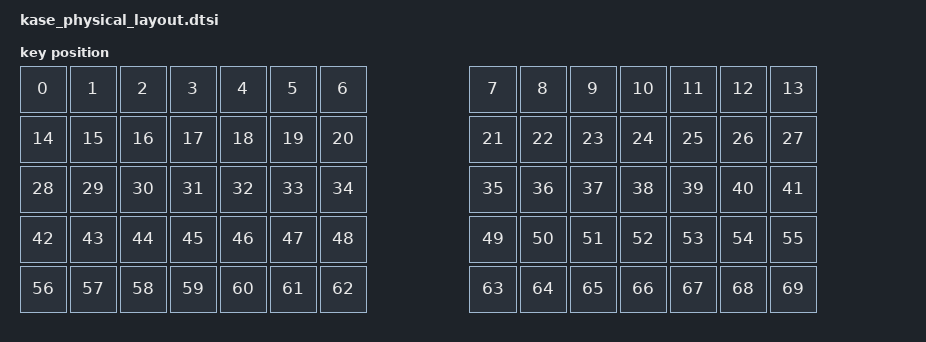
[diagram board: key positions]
/*
 * KaSe physical layout for ZMK Studio
 * 5 rows × 14 cols (7 left + 7 right), standard 1u keys
 * Split gap of 2u between col 6 and col 7
 */

#include <physical_layouts.dtsi>

/ {
    kase_layout: kase_layout {
        compatible = "zmk,physical-layout";
        display-name = "KaSe Split";

        transform = <&default_transform>;
        kscan = <&mock_kscan>;

        keys
            /* Row 0: 7 left + 7 right */
            = <&key_physical_attrs 100 100   0   0 0 0 0>
            , <&key_physical_attrs 100 100 100   0 0 0 0>
            , <&key_physical_attrs 100 100 200   0 0 0 0>
            , <&key_physical_attrs 100 100 300   0 0 0 0>
            , <&key_physical_attrs 100 100 400   0 0 0 0>
            , <&key_physical_attrs 100 100 500   0 0 0 0>
            , <&key_physical_attrs 100 100 600   0 0 0 0>
            , <&key_physical_attrs 100 100 900   0 0 0 0>
            , <&key_physical_attrs 100 100 1000  0 0 0 0>
            , <&key_physical_attrs 100 100 1100  0 0 0 0>
            , <&key_physical_attrs 100 100 1200  0 0 0 0>
            , <&key_physical_attrs 100 100 1300  0 0 0 0>
            , <&key_physical_attrs 100 100 1400  0 0 0 0>
            , <&key_physical_attrs 100 100 1500  0 0 0 0>

            /* Row 1 */
            , <&key_physical_attrs 100 100   0 100 0 0 0>
            , <&key_physical_attrs 100 100 100 100 0 0 0>
            , <&key_physical_attrs 100 100 200 100 0 0 0>
            , <&key_physical_attrs 100 100 300 100 0 0 0>
            , <&key_physical_attrs 100 100 400 100 0 0 0>
            , <&key_physical_attrs 100 100 500 100 0 0 0>
            , <&key_physical_attrs 100 100 600 100 0 0 0>
            , <&key_physical_attrs 100 100 900 100 0 0 0>
            , <&key_physical_attrs 100 100 1000 100 0 0 0>
            , <&key_physical_attrs 100 100 1100 100 0 0 0>
            , <&key_physical_attrs 100 100 1200 100 0 0 0>
            , <&key_physical_attrs 100 100 1300 100 0 0 0>
            , <&key_physical_attrs 100 100 1400 100 0 0 0>
            , <&key_physical_attrs 100 100 1500 100 0 0 0>

            /* Row 2 */
            , <&key_physical_attrs 100 100   0 200 0 0 0>
            , <&key_physical_attrs 100 100 100 200 0 0 0>
            , <&key_physical_attrs 100 100 200 200 0 0 0>
            , <&key_physical_attrs 100 100 300 200 0 0 0>
            , <&key_physical_attrs 100 100 400 200 0 0 0>
            , <&key_physical_attrs 100 100 500 200 0 0 0>
            , <&key_physical_attrs 100 100 600 200 0 0 0>
            , <&key_physical_attrs 100 100 900 200 0 0 0>
            , <&key_physical_attrs 100 100 1000 200 0 0 0>
            , <&key_physical_attrs 100 100 1100 200 0 0 0>
            , <&key_physical_attrs 100 100 1200 200 0 0 0>
            , <&key_physical_attrs 100 100 1300 200 0 0 0>
            , <&key_physical_attrs 100 100 1400 200 0 0 0>
            , <&key_physical_attrs 100 100 1500 200 0 0 0>

            /* Row 3 */
            , <&key_physical_attrs 100 100   0 300 0 0 0>
            , <&key_physical_attrs 100 100 100 300 0 0 0>
            , <&key_physical_attrs 100 100 200 300 0 0 0>
            , <&key_physical_attrs 100 100 300 300 0 0 0>
            , <&key_physical_attrs 100 100 400 300 0 0 0>
            , <&key_physical_attrs 100 100 500 300 0 0 0>
            , <&key_physical_attrs 100 100 600 300 0 0 0>
            , <&key_physical_attrs 100 100 900 300 0 0 0>
            , <&key_physical_attrs 100 100 1000 300 0 0 0>
            , <&key_physical_attrs 100 100 1100 300 0 0 0>
            , <&key_physical_attrs 100 100 1200 300 0 0 0>
            , <&key_physical_attrs 100 100 1300 300 0 0 0>
            , <&key_physical_attrs 100 100 1400 300 0 0 0>
            , <&key_physical_attrs 100 100 1500 300 0 0 0>

            /* Row 4 */
            , <&key_physical_attrs 100 100   0 400 0 0 0>
            , <&key_physical_attrs 100 100 100 400 0 0 0>
            , <&key_physical_attrs 100 100 200 400 0 0 0>
            , <&key_physical_attrs 100 100 300 400 0 0 0>
            , <&key_physical_attrs 100 100 400 400 0 0 0>
            , <&key_physical_attrs 100 100 500 400 0 0 0>
            , <&key_physical_attrs 100 100 600 400 0 0 0>
            , <&key_physical_attrs 100 100 900 400 0 0 0>
            , <&key_physical_attrs 100 100 1000 400 0 0 0>
            , <&key_physical_attrs 100 100 1100 400 0 0 0>
            , <&key_physical_attrs 100 100 1200 400 0 0 0>
            , <&key_physical_attrs 100 100 1300 400 0 0 0>
            , <&key_physical_attrs 100 100 1400 400 0 0 0>
            , <&key_physical_attrs 100 100 1500 400 0 0 0>
            ;
    };
};
